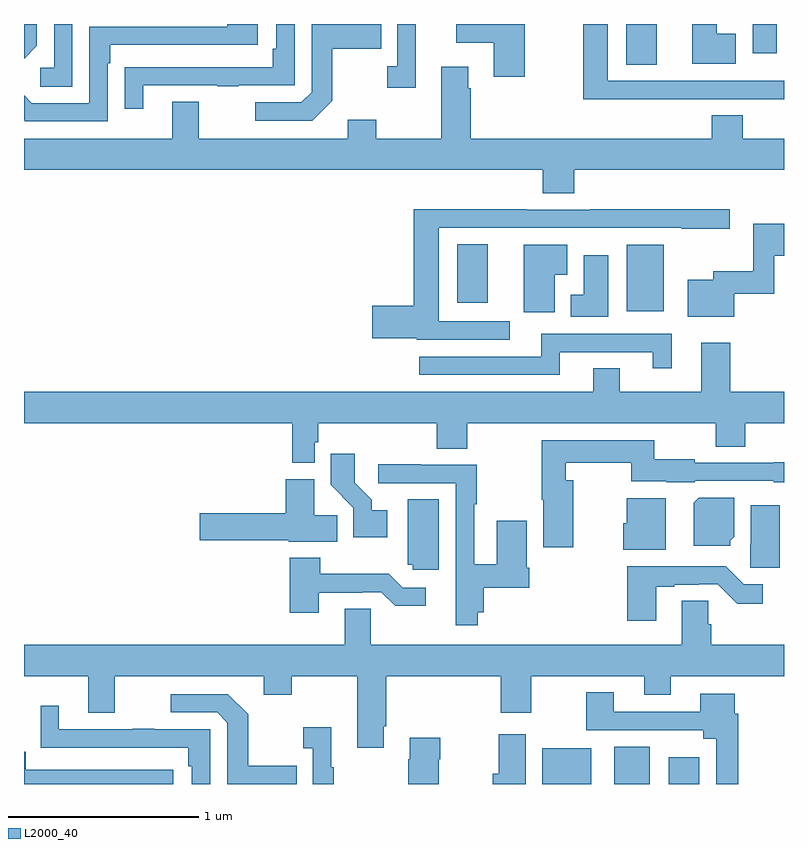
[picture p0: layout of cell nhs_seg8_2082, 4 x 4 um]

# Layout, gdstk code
import gdstk
lib = gdstk.Library(unit=1e-6, precision=1e-09)
def R(c, l, rs):  # rectangles x0, y0, x1, y1
    for r in rs: c.add(gdstk.rectangle(r[:2], r[2:], *l))
def P(c, l, *ps):  # polygons
    for p in ps: c.add(gdstk.Polygon(p, *l))
L2000_40 = (2000, 40)

nhs_seg8_2082 = lib.new_cell('nhs_seg8_2082')
R(nhs_seg8_2082, L2000_40, [(243.728,1147.9,243.985,1148.089), (244.106,1147.9,244.294,1148.095), (244.394,1147.9,244.555,1148.041), (244.172,1150.388,244.366,1150.738), (243.281,1150.434,243.442,1150.742), (244.169,1151.686,244.33,1151.9), (244.835,1151.745,244.963,1151.9)])
P(nhs_seg8_2082, L2000_40, [(244.535,1151.505),(244.867,1151.505),(244.867,1151.504),(245,1151.504),(245,1151.601),(244.072,1151.601),(244.072,1151.9),(243.943,1151.9),(243.943,1151.504),(244.535,1151.504)],
  [(243.062,1151.9),(242.964,1151.9),(242.964,1151.678),(242.913,1151.678),(242.913,1151.565),(243.062,1151.565)],
  [(241.627,1151.577),(242.017,1151.577),(242.017,1151.572),(242.129,1151.572),(242.129,1151.577),(242.424,1151.577),(242.424,1151.9),(242.328,1151.9),(242.328,1151.77),(242.308,1151.77),(242.308,1151.673),(241.633,1151.673),(241.633,1151.672),(241.531,1151.672),(241.531,1151.454),(241.627,1151.454)],
  [(241.254,1151.9),(241.158,1151.9),(241.158,1151.67),(241.086,1151.67),(241.086,1151.569),(241.254,1151.569)],
  [(241.068,1151.786),(241.068,1151.9),(241,1151.9),(241,1151.718)],
  [(244.747,1151.848),(244.645,1151.848),(244.645,1151.9),(244.517,1151.9),(244.517,1151.69),(244.747,1151.69)],
  [(241.44,1151.693),(241.453,1151.693),(241.453,1151.79),(242.23,1151.79),(242.23,1151.9),(242.069,1151.9),(242.069,1151.886),(241.344,1151.886),(241.344,1151.484),(241.041,1151.484),(241,1151.525),(241,1151.393),(241.005,1151.388),(241.44,1151.388)],
  [(243.636,1151.9),(243.276,1151.9),(243.276,1151.801),(243.473,1151.801),(243.473,1151.622),(243.636,1151.622)],
  [(242.623,1151.497),(242.623,1151.77),(242.879,1151.77),(242.879,1151.9),(242.514,1151.9),(242.514,1151.541),(242.46,1151.487),(242.217,1151.487),(242.217,1151.391),(242.517,1151.391)],
  [(243.35,1151.561),(243.337,1151.561),(243.337,1151.674),(243.197,1151.674),(243.197,1151.296),(242.853,1151.296),(242.853,1151.395),(242.705,1151.395),(242.705,1151.296),(241.921,1151.296),(241.921,1151.491),(241.781,1151.491),(241.781,1151.296),(241,1151.296),(241,1151.132),(243.731,1151.132),(243.731,1151.008),(243.896,1151.008),(243.896,1151.132),(245,1151.132),(245,1151.296),(244.784,1151.296),(244.784,1151.42),(244.619,1151.42),(244.619,1151.296),(243.35,1151.296)],
  [(243.556,1150.335),(243.184,1150.335),(243.184,1150.827),(244.462,1150.827),(244.462,1150.822),(244.714,1150.822),(244.714,1150.925),(243.979,1150.925),(243.979,1150.923),(243.647,1150.923),(243.647,1150.925),(243.05,1150.925),(243.05,1150.418),(242.832,1150.418),(242.832,1150.247),(243.066,1150.247),(243.066,1150.239),(243.556,1150.239)],
  [(244.738,1150.48),(244.948,1150.48),(244.948,1150.679),(245,1150.679),(245,1150.849),(244.838,1150.849),(244.838,1150.599),(244.628,1150.599),(244.628,1150.555),(244.493,1150.555),(244.493,1150.358),(244.738,1150.358)],
  [(243.793,1150.58),(243.859,1150.58),(243.859,1150.738),(243.629,1150.738),(243.629,1150.383),(243.793,1150.383)],
  [(244.075,1150.684),(243.947,1150.684),(243.947,1150.474),(243.878,1150.474),(243.878,1150.358),(244.075,1150.358)],
  [(243.82,1150.173),(244.31,1150.173),(244.31,1150.089),(244.408,1150.089),(244.408,1150.269),(243.722,1150.269),(243.722,1150.149),(243.081,1150.149),(243.081,1150.053),(243.82,1150.053)],
  [(242.529,1149.699),(242.549,1149.699),(242.549,1149.8),(243.173,1149.8),(243.173,1149.664),(243.333,1149.664),(243.333,1149.8),(244.642,1149.8),(244.642,1149.676),(244.797,1149.676),(244.797,1149.8),(245,1149.8),(245,1149.964),(244.718,1149.964),(244.718,1150.222),(244.565,1150.222),(244.565,1149.964),(244.135,1149.964),(244.135,1150.088),(243.995,1150.088),(243.995,1149.964),(241,1149.964),(241,1149.8),(242.413,1149.8),(242.413,1149.59),(242.529,1149.59)],
  [(243.892,1149.499),(243.85,1149.499),(243.85,1149.592),(244.197,1149.592),(244.197,1149.494),(244.38,1149.494),(244.38,1149.488),(244.53,1149.488),(244.53,1149.495),(244.947,1149.495),(244.947,1149.488),(245,1149.488),(245,1149.593),(244.947,1149.593),(244.947,1149.591),(244.53,1149.591),(244.53,1149.61),(244.318,1149.61),(244.318,1149.708),(243.724,1149.708),(243.724,1149.395),(243.734,1149.395),(243.734,1149.147),(243.892,1149.147)],
  [(242.911,1149.34),(242.83,1149.34),(242.83,1149.395),(242.74,1149.485),(242.74,1149.637),(242.614,1149.637),(242.614,1149.474),(242.733,1149.355),(242.733,1149.2),(242.911,1149.2)],
  [(243.389,1148.804),(243.419,1148.804),(243.419,1148.933),(243.659,1148.933),(243.659,1149.037),(243.646,1149.037),(243.646,1149.286),(243.488,1149.286),(243.488,1149.056),(243.369,1149.056),(243.369,1149.373),(243.382,1149.373),(243.382,1149.579),(243.089,1149.579),(243.089,1149.582),(242.865,1149.582),(242.865,1149.483),(243.273,1149.483),(243.273,1148.736),(243.389,1148.736)],
  [(242.648,1149.314),(242.527,1149.314),(242.527,1149.505),(242.378,1149.505),(242.378,1149.324),(241.926,1149.324),(241.926,1149.182),(242.394,1149.182),(242.394,1149.176),(242.648,1149.176)],
  [(244.716,1149.18),(244.738,1149.202),(244.738,1149.406),(244.552,1149.406),(244.526,1149.38),(244.526,1149.155),(244.716,1149.155)],
  [(244.378,1149.404),(244.172,1149.404),(244.172,1149.273),(244.154,1149.273),(244.154,1149.134),(244.378,1149.134)],
  [(243.184,1149.398),(243.02,1149.398),(243.02,1149.054),(243.045,1149.054),(243.045,1149.027),(243.184,1149.027)],
  [(244.978,1149.367),(244.826,1149.367),(244.826,1149.162),(244.822,1149.162),(244.822,1149.039),(244.978,1149.039)],
  [(242.551,1148.907),(242.78,1148.907),(242.78,1148.91),(242.88,1148.91),(242.953,1148.837),(243.115,1148.837),(243.115,1148.934),(242.994,1148.934),(242.921,1149.007),(242.559,1149.007),(242.559,1149.091),(242.399,1149.091),(242.399,1148.802),(242.551,1148.802)],
  [(244.327,1148.937),(244.423,1148.937),(244.423,1148.949),(244.55,1148.949),(244.55,1148.952),(244.65,1148.952),(244.753,1148.85),(244.888,1148.85),(244.888,1148.952),(244.788,1148.952),(244.694,1149.046),(244.175,1149.046),(244.175,1148.76),(244.327,1148.76)],
  [(242.893,1148.203),(242.906,1148.203),(242.906,1148.468),(243.509,1148.468),(243.509,1148.274),(243.669,1148.274),(243.669,1148.468),(244.265,1148.468),(244.265,1148.369),(244.405,1148.369),(244.405,1148.468),(245,1148.468),(245,1148.632),(244.616,1148.632),(244.616,1148.742),(244.602,1148.742),(244.602,1148.864),(244.463,1148.864),(244.463,1148.632),(242.826,1148.632),(242.826,1148.822),(242.687,1148.822),(242.687,1148.632),(241,1148.632),(241,1148.468),(241.337,1148.468),(241.337,1148.274),(241.477,1148.274),(241.477,1148.468),(242.261,1148.468),(242.261,1148.369),(242.409,1148.369),(242.409,1148.468),(242.753,1148.468),(242.753,1148.091),(242.893,1148.091)],
  [(244.76,1148.27),(244.741,1148.27),(244.741,1148.374),(244.559,1148.374),(244.559,1148.28),(244.105,1148.28),(244.105,1148.383),(243.958,1148.383),(243.958,1148.184),(244.574,1148.184),(244.574,1148.138),(244.644,1148.138),(244.644,1147.9),(244.76,1147.9)],
  [(242.435,1147.995),(242.179,1147.995),(242.179,1148.267),(242.073,1148.373),(241.773,1148.373),(241.773,1148.277),(242.016,1148.277),(242.07,1148.223),(242.07,1147.9),(242.435,1147.9)],
  [(241.98,1148.187),(241.685,1148.187),(241.685,1148.192),(241.573,1148.192),(241.573,1148.187),(241.183,1148.187),(241.183,1148.311),(241.087,1148.311),(241.087,1148.092),(241.189,1148.092),(241.189,1148.091),(241.864,1148.091),(241.864,1147.994),(241.884,1147.994),(241.884,1147.9),(241.98,1147.9)],
  [(242.629,1147.987),(242.617,1147.987),(242.617,1148.2),(242.469,1148.2),(242.469,1148.087),(242.52,1148.087),(242.52,1147.9),(242.629,1147.9)],
  [(243.64,1148.161),(243.499,1148.161),(243.499,1147.953),(243.467,1147.953),(243.467,1147.9),(243.64,1147.9)],
  [(243.184,1148.03),(243.192,1148.03),(243.192,1148.143),(243.029,1148.143),(243.029,1148.03),(243.022,1148.03),(243.022,1147.9),(243.184,1147.9)],
  [(241.786,1147.974),(241.009,1147.974),(241.009,1148.071),(241,1148.071),(241,1147.9),(241.786,1147.9)])

lib.write_gds('nhs_seg8_2082.gds')
